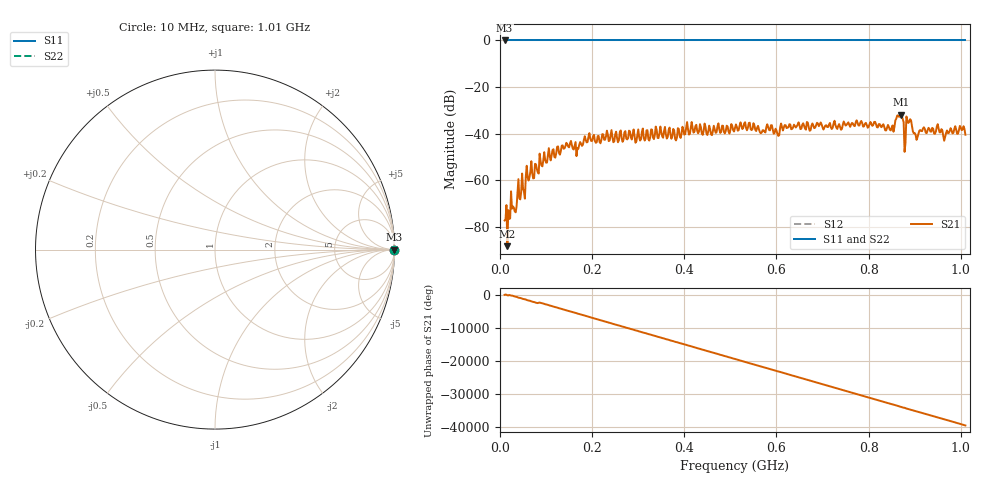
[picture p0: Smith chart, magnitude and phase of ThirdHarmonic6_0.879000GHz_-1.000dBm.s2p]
! 8/16/2025 4:58:16 AM
! C:\ANRITSUVNA\TEMP\TEMP.S2P
! CHANNEL.1
! TR.MEASUREMENT
! RAW.DATA
! RF.CORRECTION.OFF
! AVERAGING.OFF
! IF.BANDWIDTH: 5KHZ
! SWEEPTYPE:  FREQ.SWEEP(Linear)
! Reference Plane Port Info
! PORT:  PORT1  PORT2
! DISTANCE:  0  m  0  m
! TIME:  0  s  0  s
! PHASE.OFFSET:  0  deg.  0  deg.
! LOSS:  0  dB  0  dB
! REF.LOSS:  0  dB  0  dB
! REF.FREQ:  0  Hz  0  Hz
! Power Info
! POWER:  -20  dBm  -20  dBm
! EFF.POWER:  -20  dBm  -20  dBm
! SOURCE.ATTEN:  0  dB  0  dB
! TEST.ATTEN:  0  dB  0  dB
# GHZ S RI R 50.0
! FREQ.GHZ  S11RE  S11IM  S21RE  S21IM  S12RE  S12IM  S22RE  S22IM
!; PortSelection: Port_12
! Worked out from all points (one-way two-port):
!   501 points, 10 MHz to 1.01 GHz, reference 50 ohm
!   highest |S21| = -31.87 dB at 870 MHz (marker M1); lowest = -88.2 dB at 16 MHz (marker M2)
!   lowest |S11| = 0.0 dB at 10 MHz (marker M3)
!   |S11| at or under -10 dB: nowhere
!   |S22| runs from 0.0 to 0.0 dB; largest |S21 - S12| = 1
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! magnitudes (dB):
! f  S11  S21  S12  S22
! 10 MHz  0.0  -77.2  0.0  0.0
! 16 MHz  0.0  -88.2  0.0  0.0
! 28 MHz  0.0  -71.2  0.0  0.0
! 32 MHz  0.0  -73.3  0.0  0.0
! 44 MHz  0.0  -68.2  0.0  0.0
! 50 MHz  0.0  -63.6  0.0  0.0
! 60 MHz  0.0  -58.6  0.0  0.0
! 90 MHz  0.0  -53.6  0.0  0.0
! 178 MHz  0.0  -45.2  0.0  0.0
! 344 MHz  0.0  -41.9  0.0  0.0
! 510 MHz  0.0  -37.6  0.0  0.0
! 602 MHz  0.0  -40.0  0.0  0.0
! 614 MHz  0.0  -38.6  0.0  0.0
! 678 MHz  0.0  -35.6  0.0  0.0
! 844 MHz  0.0  -37.1  0.0  0.0
! 870 MHz  0.0  -31.9  0.0  0.0
! 876 MHz  0.0  -35.0  0.0  0.0
! 882 MHz  0.0  -32.6  0.0  0.0
! 886 MHz  0.0  -35.4  0.0  0.0
! 902 MHz  0.0  -40.5  0.0  0.0
! 918 MHz  0.0  -37.7  0.0  0.0
! 1.01 GHz  0.0  -40.4  0.0  0.0
